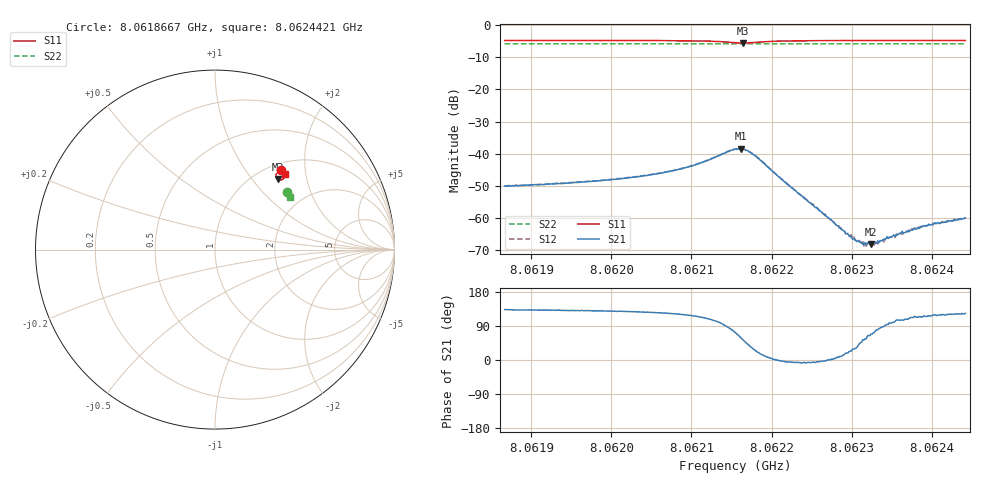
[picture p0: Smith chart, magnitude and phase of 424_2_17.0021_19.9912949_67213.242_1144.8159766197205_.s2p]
#  HZ  S  RI  R  50.00
! Rohde & Schwarz Vector Network Analyzer
! Rohde-Schwarz,ZNB20-2Port,1311601062101988,3.16
! Created: UTC 3/20/2024, 11:11:05 PM
! freq[Hz]  re:S11  im:S11  re:S21  im:S21  re:S12  im:S12  re:S22  im:S22
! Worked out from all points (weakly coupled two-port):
!   401 points, 8.0618667 GHz to 8.0624421 GHz, reference 50 ohm
!   highest |S21| = -38.46 dB at 8.0621616 GHz (marker M1); lowest = -68.2 dB at 8.0623241 GHz (marker M2)
!   lowest |S11| = -5.6 dB at 8.0621644 GHz (marker M3), VSWR 3.21, Z = 62.5 + j67.8 ohm
!   |S11| at or under -10 dB: nowhere
!   |S22| runs from -5.9 to -5.8 dB; largest |S21 - S12| = 0.00095
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8.0618667e9  0.3685 0.4429  -0.00215 0.0023  -0.002 0.00244  0.3999 0.3196
8.06196307e9  0.3754 0.4366  -0.00236 0.00274  -0.00221 0.00289  0.4037 0.3147
8.06201773e9  0.3798 0.4318  -0.00257 0.00327  -0.00239 0.00347  0.4056 0.312
8.06205944e9  0.3835 0.4268  -0.00279 0.00405  -0.00261 0.00424  0.4072 0.3097
8.0621026e9  0.3875 0.4165  -0.00292 0.0059  -0.0026 0.00611  0.4086 0.3072
8.06213424e9  0.3846 0.3995  -0.00156 0.00913  -0.000967 0.0094  0.4094 0.3049
8.06215438e9  0.3646 0.3873  0.00342 0.0113  0.00409 0.011  0.4091 0.3035
8.06216157e9  0.3526 0.3899  0.00613 0.0103  0.00676 0.00987  0.4088 0.3036
8.06216445e9  0.3483 0.3929  0.00698 0.00934  0.00763 0.00905  0.4087 0.3038
8.06217164e9  0.3409 0.4035  0.00838 0.00683  0.00889 0.00628  0.4088 0.3038
8.06218171e9  0.3408 0.4185  0.00819 0.00331  0.00846 0.00291  0.4093 0.3041
8.06221623e9  0.3609 0.4352  0.00366 -0.000238  0.00367 -0.000449  0.4117 0.3029
8.06225076e9  0.3719 0.4345  0.0016 -0.000181  0.00164 -0.000288  0.4133 0.3011
8.06229535e9  0.3793 0.4313  0.00053 0.000181  0.000557 0.000173  0.4151 0.2986
8.06230398e9  0.3804 0.4308  0.000392 0.000229  0.000419 0.000218  0.4153 0.2981
8.06231261e9  0.3815 0.4302  0.000277 0.000302  0.000288 0.000286  0.4158 0.2977
8.06231836e9  0.3821 0.4299  0.000218 0.000322  0.00022 0.000291  0.416 0.2973
8.06232412e9  0.3827 0.4294  0.000143 0.000361  0.000158 0.000386  0.4162 0.2971
8.06233131e9  0.3834 0.4289  6.99e-05 0.000397  8.88e-05 0.000401  0.4163 0.2968
8.06234713e9  0.3851 0.428  -7.38e-05 0.000499  -1.44e-05 0.000493  0.417 0.2961
8.06238884e9  0.3884 0.4254  -0.000301 0.000696  -0.000284 0.000704  0.4186 0.2938
8.06244207e9  0.3922 0.4223  -0.000546 0.000843  -0.000464 0.000886  0.4203 0.2909
